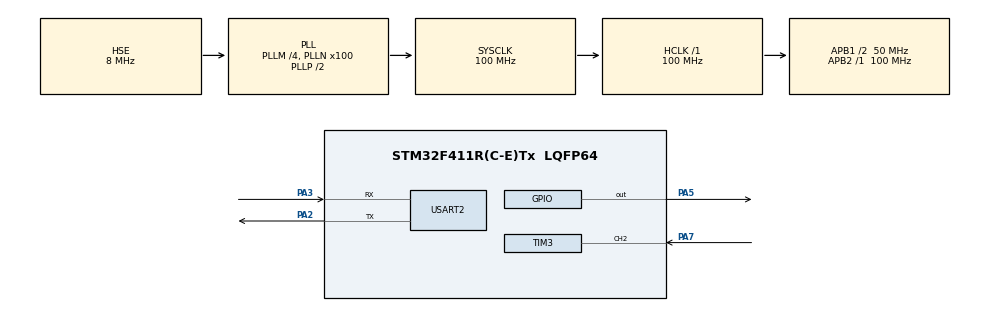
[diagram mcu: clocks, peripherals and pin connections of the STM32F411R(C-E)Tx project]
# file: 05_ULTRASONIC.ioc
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Mcu.Family=STM32F4
Mcu.Name=STM32F411R(C-E)Tx
Mcu.Package=LQFP64
NVIC.PriorityGroup=NVIC_PRIORITYGROUP_4
NVIC.TIM1_TRG_COM_TIM11_IRQn=true\:0\:0\:false\:false\:true\:true\:true\:true
NVIC.TIM3_IRQn=true\:0\:0\:false\:false\:true\:true\:true\:true
NVIC.USART2_IRQn=true\:0\:0\:true\:false\:true\:true\:true\:true
PA13.Mode=Serial_Wire
PA13.Signal=SYS_JTMS-SWDIO
PA14.Mode=Serial_Wire
PA14.Signal=SYS_JTCK-SWCLK
PA2.Mode=Asynchronous
PA2.Signal=USART2_TX
PA3.Mode=Asynchronous
PA3.Signal=USART2_RX
PA5.Signal=GPIO_Output
PA7.Signal=S_TIM3_CH2
PH0\ -\ OSC_IN.Mode=HSE-External-Clock-Source
PH0\ -\ OSC_IN.Signal=RCC_OSC_IN
PH1\ -\ OSC_OUT.Mode=HSE-External-Clock-Source
PH1\ -\ OSC_OUT.Signal=RCC_OSC_OUT
ProjectManager.HeapSize=0x200
ProjectManager.StackSize=0x400
ProjectManager.TargetToolchain=STM32CubeIDE
RCC.48MHZClocksFreq_Value=50000000
RCC.AHBFreq_Value=100000000
RCC.APB1CLKDivider=RCC_HCLK_DIV2
RCC.APB1Freq_Value=50000000
RCC.APB1TimFreq_Value=100000000
RCC.APB2Freq_Value=100000000
RCC.APB2TimFreq_Value=100000000
RCC.CortexFreq_Value=100000000
RCC.HCLKFreq_Value=100000000
RCC.HSE_VALUE=8000000
RCC.HSI_VALUE=16000000
RCC.LSE_VALUE=32768
RCC.PLLM=4
RCC.PLLN=100
RCC.PLLSourceVirtual=RCC_PLLSOURCE_HSE
RCC.SYSCLKFreq_VALUE=100000000
RCC.SYSCLKSource=RCC_SYSCLKSOURCE_PLLCLK
RCC.VCOOutputFreq_Value=200000000
SH.S_TIM3_CH2.0=TIM3_CH2,Input_Capture2_from_TI2
TIM11.Prescaler=100-1
TIM3.Channel-Input_Capture2_from_TI2=TIM_CHANNEL_2
TIM3.Period=65535
TIM3.Prescaler=100-1
USART2.VirtualMode=VM_ASYNC
VP_TIM11_VS_ClockSourceINT.Mode=Enable_Timer
VP_TIM3_VS_ClockSourceINT.Mode=Internal
board=custom

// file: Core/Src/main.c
/* USER CODE BEGIN Header */
/**
  ******************************************************************************
  * @file           : main.c
  * @brief          : Main program body
  ******************************************************************************
  * @attention
  *
  * Copyright (c) 2026 STMicroelectronics.
  * All rights reserved.
  *
  * This software is licensed under terms that can be found in the LICENSE file
  * in the root directory of this software component.
  * If no LICENSE file comes with this software, it is provided AS-IS.
  *
  ******************************************************************************
  */
/* USER CODE END Header */
#include "main.h"
#include "tim.h"
#include "usart.h"
#include "gpio.h"

/* USER CODE BEGIN Includes */
#include "delay.h"
#include "stdio.h"
/* USER CODE END Includes */

/* USER CODE BEGIN PD */

#define TRIG_PORT      GPIOA
#define TRIG_PIN         GPIO_PIN_5
/* USER CODE END PD */

/* USER CODE BEGIN PM */
#ifdef __GNUC__
  /* With GCC, small printf (option LD Linker->Libraries->Small printf
     set to 'Yes') calls __io_putchar() */
  #define PUTCHAR_PROTOTYPE int __io_putchar(int ch)
#else
  #define PUTCHAR_PROTOTYPE int fputc(int ch, FILE *f)
#endif /* __GNUC__ */
PUTCHAR_PROTOTYPE
{
  /* Place your implementation of __io_putchar() here */
  /* e.g. write a character to the usart2 and Loop until the end of transmission */
   HAL_UART_Transmit(&huart2, (uint8_t *)&ch, 1, 0xFFFF);

  return ch;
}

/* USER CODE END PM */

/* USER CODE BEGIN PV */
uint8_t     rxData;
uint8_t     txData;
uint16_t    IC_Value1 = 0;
uint16_t    IC_Value2 = 0;
uint16_t    echoTime = 0;
uint8_t      captureFlage = 0;
uint8_t      distance   =0;
/* USER CODE END PV */

void SystemClock_Config(void);
/* USER CODE BEGIN PFP */

void HCSR4_TRIG(void){
    HAL_GPIO_WritePin(TRIG_PORT, TRIG_PIN, GPIO_PIN_SET);
   delay_us(10);
   HAL_GPIO_WritePin(TRIG_PORT, TRIG_PIN, GPIO_PIN_RESET);

   __HAL_TIM_ENABLE_IT(&htim3, TIM_IT_CC1);

}

void HAL_TIM_IC_CaptureCallback(TIM_HandleTypeDef *htim)
{
    if(htim->Channel == HAL_TIM_ACTIVE_CHANNEL_2){
        if(captureFlage == 0){
                IC_Value1= HAL_TIM_ReadCapturedValue(&htim3, TIM_CHANNEL_2); // echo pin 관련
                captureFlage = 1;
                __HAL_TIM_SET_CAPTUREPOLARITY(&htim3, TIM_CHANNEL_2, TIM_INPUTCHANNELPOLARITY_FALLING);
        }
        else if (captureFlage == 1){
            IC_Value2 = HAL_TIM_ReadCapturedValue(&htim3, TIM_CHANNEL_2);
         __HAL_TIM_SET_COUNTER(&htim3, 0);

         if(IC_Value2 > IC_Value1){
             echoTime = IC_Value2 - IC_Value1;
         }
         else if (IC_Value1 > IC_Value2){
             echoTime = 0xFFFF - IC_Value1 + IC_Value2; // 거리가 필요한거기 때문에, 이런 경우도 넣어주는것
                                                                                                      //                (IC_Value1) //|                     //|
                                                                                                     //                                      //     |               //      |
                                                                                                     //                                   //        |           //          |
                                                                                                     //                                //           |       //(IC_Value2) |
                                                                                                     //                             //              |   //                  |
                                                                                                     //                          //                 |//                     |
         }
         distance = echoTime / 58 ;  // cm
         captureFlage = 0;
         __HAL_TIM_SET_CAPTUREPOLARITY(&htim3, TIM_CHANNEL_2, TIM_INPUTCHANNELPOLARITY_RISING);
         __HAL_TIM_DISABLE_IT(&htim3,TIM_IT_CC1);
        }
    }
}
void HAL_UART_RxCpltCallback(UART_HandleTypeDef *huart){

    if(huart-> Instance == USART2){
        if(rxData =='a'){
            TIM3->CCR2 = 100;
        }
        else if(rxData == 'b'){
            TIM3->CCR2 = 150;
        }
        else if(rxData == 'c'){
            TIM3->CCR2 = 200;;
        }

        HAL_UART_Transmit(&huart2, &rxData, 1, 100);
        HAL_UART_Receive_IT(&huart2, &rxData, 1);
    }
}

/* USER CODE END PFP */

int main(void)
{

  /* MCU Configuration--------------------------------------------------------*/

  /* Reset of all peripherals, Initializes the Flash interface and the Systick. */
  HAL_Init();

  /* Configure the system clock */
  SystemClock_Config();

  /* Initialize all configured peripherals */
  MX_GPIO_Init();
  MX_USART2_UART_Init();
  MX_TIM3_Init();
  MX_TIM11_Init();
  /* USER CODE BEGIN 2 */

  //HAL_TIM_PWM_Start(&htim3, TIM_CHANNEL_2);
  //HAL_UART_Receive_IT(&huart2, &rxData, 1);
  HAL_TIM_Base_Start(&htim11); // timer start
  HAL_TIM_IC_Start_IT(&htim3, TIM_CHANNEL_2);

  /* USER CODE END 2 */

  /* Infinite loop */
  /* USER CODE BEGIN WHILE */
  while (1)
  {
      HCSR4_TRIG();
      delay_us(500);
      printf("distance : %d cm \r \n",distance);
      HAL_Delay(37);

      }

    /* USER CODE END WHILE */

}

void SystemClock_Config(void)
{
  RCC_OscInitTypeDef RCC_OscInitStruct = {0};
  RCC_ClkInitTypeDef RCC_ClkInitStruct = {0};

  /** Configure the main internal regulator output voltage
  */
  __HAL_RCC_PWR_CLK_ENABLE();
  __HAL_PWR_VOLTAGESCALING_CONFIG(PWR_REGULATOR_VOLTAGE_SCALE1);

  /** Initializes the RCC Oscillators according to the specified parameters
  * in the RCC_OscInitTypeDef structure.
  */
  RCC_OscInitStruct.OscillatorType = RCC_OSCILLATORTYPE_HSE;
  RCC_OscInitStruct.HSEState = RCC_HSE_BYPASS;
  RCC_OscInitStruct.PLL.PLLState = RCC_PLL_ON;
  RCC_OscInitStruct.PLL.PLLSource = RCC_PLLSOURCE_HSE;
  RCC_OscInitStruct.PLL.PLLM = 4;
  RCC_OscInitStruct.PLL.PLLN = 100;
  RCC_OscInitStruct.PLL.PLLP = RCC_PLLP_DIV2;
  RCC_OscInitStruct.PLL.PLLQ = 4;
  if (HAL_RCC_OscConfig(&RCC_OscInitStruct) != HAL_OK)
  {
    Error_Handler();
  }

  /** Initializes the CPU, AHB and APB buses clocks
  */
  RCC_ClkInitStruct.ClockType = RCC_CLOCKTYPE_HCLK|RCC_CLOCKTYPE_SYSCLK
                              |RCC_CLOCKTYPE_PCLK1|RCC_CLOCKTYPE_PCLK2;
  RCC_ClkInitStruct.SYSCLKSource = RCC_SYSCLKSOURCE_PLLCLK;
  RCC_ClkInitStruct.AHBCLKDivider = RCC_SYSCLK_DIV1;
  RCC_ClkInitStruct.APB1CLKDivider = RCC_HCLK_DIV2;
  RCC_ClkInitStruct.APB2CLKDivider = RCC_HCLK_DIV1;

  if (HAL_RCC_ClockConfig(&RCC_ClkInitStruct, FLASH_LATENCY_3) != HAL_OK)
  {
    Error_Handler();
  }
}

void Error_Handler(void)
{
  __disable_irq();
  while (1)
  {
  }
}
